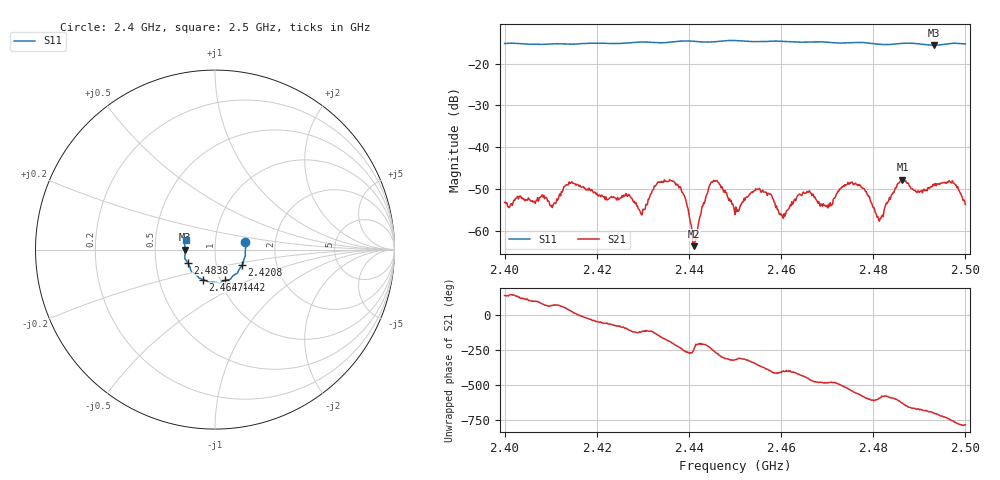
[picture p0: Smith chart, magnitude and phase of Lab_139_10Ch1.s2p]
# Hz S RI R 50
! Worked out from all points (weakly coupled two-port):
!   601 points, 2.4 GHz to 2.5 GHz, reference 50 ohm
!   highest |S21| = -47.72 dB at 2.4863 GHz (marker M1); lowest = -63.6 dB at 2.441 GHz (marker M2)
!   lowest |S11| = -15.6 dB at 2.4932 GHz (marker M3), VSWR 1.40, Z = 35.8 - j0.091 ohm
!   |S11| at or under -10 dB: start of sweep to end of sweep
!   S12 and S22 are empty: the file has one direction only
!   S11 on the Smith chart (normalised r, x): 2.4 GHz: 1.40, +0.12; 2.4208 GHz: 1.33, -0.24; 2.4442 GHz: 1.05, -0.37; 2.4647 GHz: 0.83, -0.29; 2.4838 GHz: 0.73, -0.11; 2.5 GHz: 0.72, +0.08
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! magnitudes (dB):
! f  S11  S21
! 2.4 GHz  -15.2  -53.2
! 2.4167 GHz  -15.3  -49.5
! 2.4208 GHz  -15.2  -51.8
! 2.4298 GHz  -14.9  -56.1
! 2.4333 GHz  -15.0  -48.3
! 2.4382 GHz  -14.7  -49.5
! 2.441 GHz  -14.7  -63.6
! 2.4442 GHz  -14.9  -50.3
! 2.4462 GHz  -14.7  -48.0
! 2.45 GHz  -14.5  -56.0
! 2.455 GHz  -14.8  -50.1
! 2.4605 GHz  -14.7  -56.9
! 2.4647 GHz  -14.9  -50.9
! 2.4667 GHz  -14.8  -51.5
! 2.47 GHz  -14.9  -53.9
! 2.4767 GHz  -15.0  -49.2
! 2.4813 GHz  -15.4  -57.6
! 2.4833 GHz  -15.5  -52.8
! 2.4838 GHz  -15.4  -51.8
! 2.4863 GHz  -15.2  -47.7
! 2.4932 GHz  -15.6  -49.2
! 2.5 GHz  -15.3  -53.7
